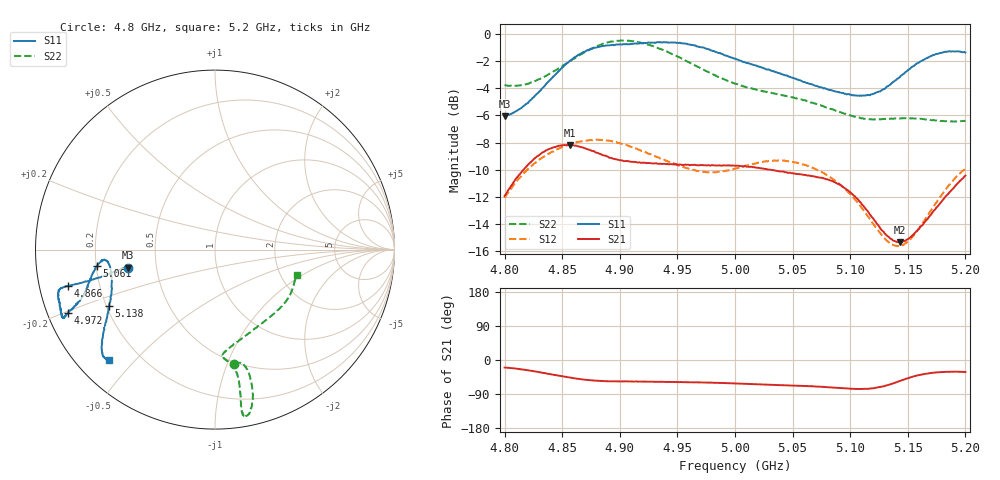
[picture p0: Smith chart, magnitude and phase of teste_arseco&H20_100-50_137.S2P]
! Network Analyzer HP8722D
! Hewlett-Packard
! Data name: Linha & Wilkinson
! Saver's name: Rodrigo Anjos
! Comments: Teste da utilização de aquisição
! continua pelo VNA HP8722D
! Time and date: 6/5/2025 13:42
!  Frequency  S11  S21  S12  S22
# HZ  S  MA R 50
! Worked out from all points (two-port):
!   401 points, 4.8 GHz to 5.2 GHz, reference 50 ohm
!   highest |S21| = -8.17 dB at 4.857 GHz (marker M1); lowest = -15.3 dB at 5.143 GHz (marker M2)
!   |S21| within 3 dB of the highest: 4.806 GHz to 5.092 GHz (286.6 MHz wide, 5.79 % of centre); 5.191371 GHz to end of sweep
!   lowest |S11| = -6.1 dB at 4.8 GHz (marker M3), VSWR 2.98, Z = 16.9 - j4.53 ohm
!   |S11| at or under -10 dB: nowhere
!   |S22| runs from -6.5 to -0.5 dB; largest |S21 - S12| = 0.62
!   S11 on the Smith chart (normalised r, x): 4.8 GHz: 0.34, -0.09; 4.866 GHz: 0.09, -0.12; 4.972 GHz: 0.06, -0.21; 5.061 GHz: 0.20, -0.07; 5.138 GHz: 0.21, -0.24; 5.2 GHz: 0.09, -0.42
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4.8e9  0.4976 -168.3  0.2534 -19.9  0.2496 -141.1  0.649 -80.4
4.828e9  0.6013 -167.2  0.3541 -31.0  0.3392 -145.2  0.6752 -75.5
4.857e9  0.7975 -166.0  0.3903 -46.7  0.3928 -150.5  0.7934 -74.8
4.866e9  0.8448 -166.0  0.3833 -50.6  0.4016 -152.1  0.8388 -75.4
4.867e9  0.8489 -166.2  0.3827 -51.0  0.4025 -152.2  0.8427 -75.5
4.883e9  0.8966 -165.4  0.3612 -55.2  0.4075 -155.0  0.909 -77.4
4.9e9  0.9142 -162.9  0.3427 -56.4  0.3956 -156.7  0.9421 -79.2
4.934e9  0.9302 -156.7  0.3323 -57.7  0.3506 -155.8  0.8817 -80.6
4.951e9  0.924 -155.6  0.3303 -58.3  0.328 -152.7  0.8214 -80.0
4.972e9  0.891 -156.7  0.3294 -59.2  0.3112 -146.3  0.7391 -79.8
5e9  0.8102 -159.2  0.3273 -62.0  0.3196 -137.4  0.6551 -81.3
5.038e9  0.717 -166.3  0.3125 -66.2  0.3424 -134.7  0.5988 -85.9
5.061e9  0.6632 -172.2  0.3029 -68.6  0.3293 -136.5  0.5695 -84.0
5.067e9  0.6509 -173.2  0.3002 -69.2  0.322 -136.9  0.558 -82.6
5.099e9  0.5999 -172.8  0.2639 -75.6  0.2597 -139.0  0.5016 -67.7
5.116e9  0.5963 -165.5  0.2205 -76.0  0.2119 -135.6  0.4853 -55.6
5.134e9  0.6471 -154.3  0.1782 -65.0  0.1705 -120.5  0.4867 -43.3
5.138e9  0.6681 -152.0  0.1734 -61.0  0.167 -115.3  0.4873 -40.8
5.143e9  0.6925 -149.4  0.1714 -55.6  0.1658 -108.8  0.4877 -38.0
5.154e9  0.7574 -144.7  0.1816 -44.3  0.1794 -95.0  0.489 -32.2
5.172e9  0.8349 -139.2  0.2222 -33.8  0.2305 -81.2  0.4814 -24.5
5.2e9  0.8529 -133.7  0.301 -31.6  0.3192 -77.1  0.4794 -17.5
